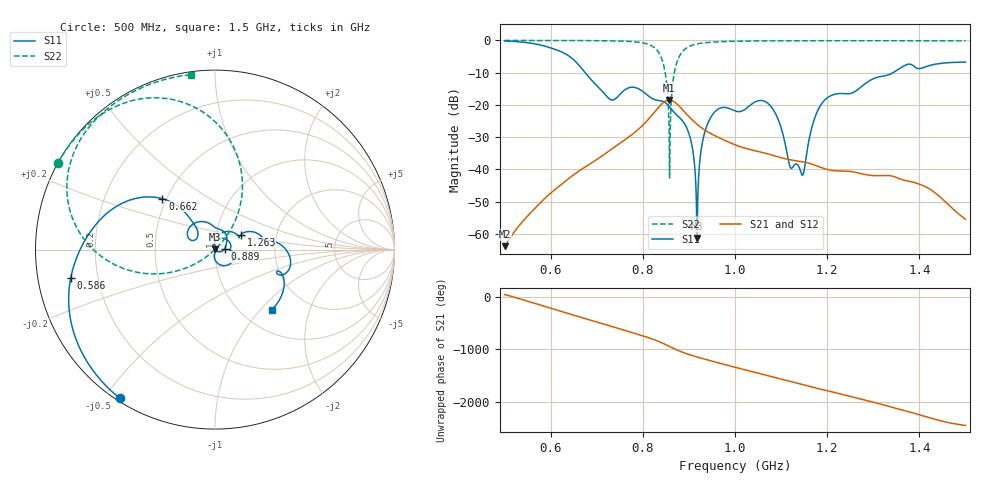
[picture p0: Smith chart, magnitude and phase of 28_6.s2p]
! TOUCHSTONE file generated by CST MICROWAVE STUDIO
! Date and time: Fri Oct  2 18:58:32 2020
! Project name: Scenario_1_Free_Space_out_of_line.cst
! Parameters = {Lambda=346.42; Step_1=17.321; dy1=-120.567; dx1=1039; L_HA=400; MT=2.54; Rad_Dielectric=30; Rad_Lower=7.3; Rad_Upper=30; a_HA=580; a_WG=246; b_HA=500; b_WG=121; c_HA=0; c_WG=187; d_feed=85; h_feed=15; h_lower=18; h_upper=40}
! Header version: 2018
! Port assignment regex: !\s*Touchstone port\s*([0-9]+)\s*=\s*(CST MWS port|CST DS port)\s*([0-9]+|Zmin|Zmax)\s*\(\"(.*)\"\)(\s*mode\s*([0-9]+))?.*
! Touchstone port assignment:
! Touchstone port 1 = CST MWS port 1 ("")
! Touchstone port 2 = CST MWS port 2 ("")
# GHz S DB R 50
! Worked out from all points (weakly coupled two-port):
!   1003 points, 500 MHz to 1.5 GHz, reference 50 ohm
!   highest |S21| = -18.46 dB at 857 MHz (marker M1); lowest = -63.8 dB at 500 MHz (marker M2)
!   lowest |S11| = -61.2 dB at 918 MHz (marker M3), VSWR 1.00, Z = 49.9 + j0.0671 ohm
!   |S11| at or under -10 dB: 674.8 MHz to 1.343 GHz (668.2 MHz wide, 66.2 % of centre)
!   |S22| runs from -42.6 to 0.0 dB; largest |S21 - S12| = 6.7e-05
!   S11 on the Smith chart (normalised r, x): 500 MHz: 0.01, -0.55; 586 MHz: 0.10, -0.10; 662 MHz: 0.48, +0.32; 889 MHz: 1.11, +0.01; 1.263 GHz: 1.31, +0.22; 1.5 GHz: 1.36, -1.16
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0.5  -0.15 -122.6  -63.79 46.2  -63.79 46.2  -0.01 151.1
0.586  -1.72 -168.7  -49.16 -176.9  -49.16 -177.0  -0.02 145.1
0.662  -7.78 136.0  -40.42 -19.5  -40.42 -19.5  -0.04 138.8
0.667  -8.63 133.3  -39.94 -32.8  -39.94 -32.8  -0.04 138.3
0.73  -18.33 142.8  -33.90 163.9  -33.90 163.9  -0.13 130.7
0.834  -18.61 80.7  -20.77 -127.7  -20.77 -127.7  -3.67 85.3
0.848  -19.25 60.9  -18.90 177.1  -18.90 177.1  -9.56 63.3
0.857  -20.43 46.2  -18.46 138.3  -18.46 138.3  -27.70 46.0
0.869  -22.46 31.0  -19.11 87.4  -19.11 87.4  -9.46 -156.4
0.889  -25.50 3.2  -21.94 15.0  -21.94 15.0  -3.01 177.6
0.905  -31.49 -27.4  -24.35 -32.6  -24.35 -32.6  -1.60 165.5
0.918  -61.22 129.4  -26.04 -67.1  -26.04 -67.1  -1.07 158.9
0.944  -24.76 75.7  -28.59 -130.9  -28.59 -130.9  -0.59 150.3
1  -21.84 -1.3  -32.35 97.9  -32.35 97.9  -0.26 140.2
1.073  -19.70 -59.8  -35.24 -67.5  -35.24 -67.5  -0.14 132.1
1.12  -39.33 -59.8  -37.01 -172.3  -37.01 -172.3  -0.11 127.9
1.145  -41.58 22.5  -37.58 131.6  -37.58 131.5  -0.10 125.9
1.167  -26.86 90.3  -38.36 80.4  -38.36 80.4  -0.10 124.1
1.198  -18.06 54.1  -39.93 13.1  -39.93 13.1  -0.09 121.7
1.263  -15.59 30.1  -40.94 -128.3  -40.94 -128.3  -0.09 116.8
1.334  -10.61 9.7  -41.89 71.6  -41.89 71.6  -0.09 111.4
1.5  -6.73 -46.5  -55.43 66.9  -55.30 67.6  -0.14 97.8
